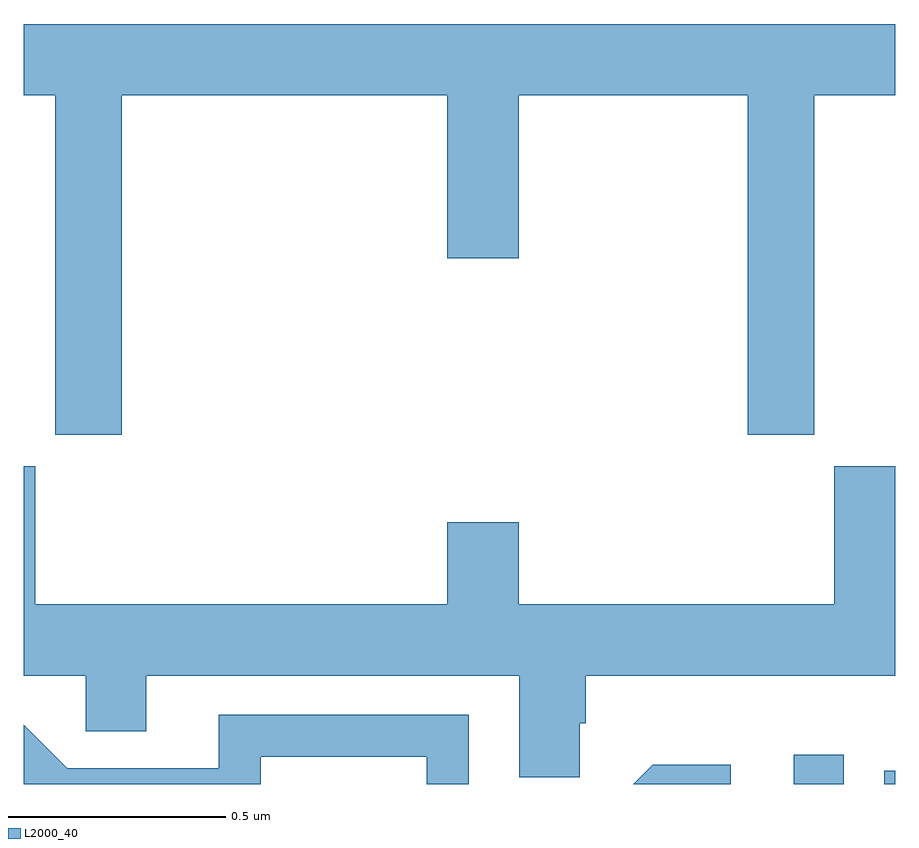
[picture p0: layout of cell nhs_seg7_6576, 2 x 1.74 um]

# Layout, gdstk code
import gdstk
lib = gdstk.Library(unit=1e-6, precision=1e-09)
def R(c, l, rs):  # rectangles x0, y0, x1, y1
    for r in rs: c.add(gdstk.rectangle(r[:2], r[2:], *l))
def P(c, l, *ps):  # polygons
    for p in ps: c.add(gdstk.Polygon(p, *l))
L2000_40 = (2000, 40)

nhs_seg7_6576 = lib.new_cell('nhs_seg7_6576')
R(nhs_seg7_6576, L2000_40, [(201.767,1035,201.882,1035.067), (201.975,1035,202,1035.03)])
P(nhs_seg7_6576, L2000_40, [(200.225,1036.58),(200.972,1036.58),(200.972,1036.206),(201.136,1036.206),(201.136,1036.58),(201.662,1036.58),(201.662,1035.801),(201.814,1035.801),(201.814,1036.58),(202,1036.58),(202,1036.744),(200,1036.744),(200,1036.58),(200.072,1036.58),(200.072,1035.801),(200.225,1035.801)],
  [(201.276,1035.139),(201.29,1035.139),(201.29,1035.248),(202,1035.248),(202,1035.729),(201.86,1035.729),(201.86,1035.412),(201.136,1035.412),(201.136,1035.601),(200.972,1035.601),(200.972,1035.412),(200.026,1035.412),(200.026,1035.729),(200,1035.729),(200,1035.248),(200.142,1035.248),(200.142,1035.121),(200.281,1035.121),(200.281,1035.248),(201.137,1035.248),(201.137,1035.016),(201.276,1035.016)],
  [(200.544,1035.063),(200.925,1035.063),(200.925,1035),(201.021,1035),(201.021,1035.159),(200.447,1035.159),(200.447,1035.036),(200.1,1035.036),(200,1035.136),(200,1035),(200.544,1035)],
  [(201.622,1035.044),(201.443,1035.044),(201.399,1035),(201.622,1035)])

lib.write_gds('nhs_seg7_6576.gds')
